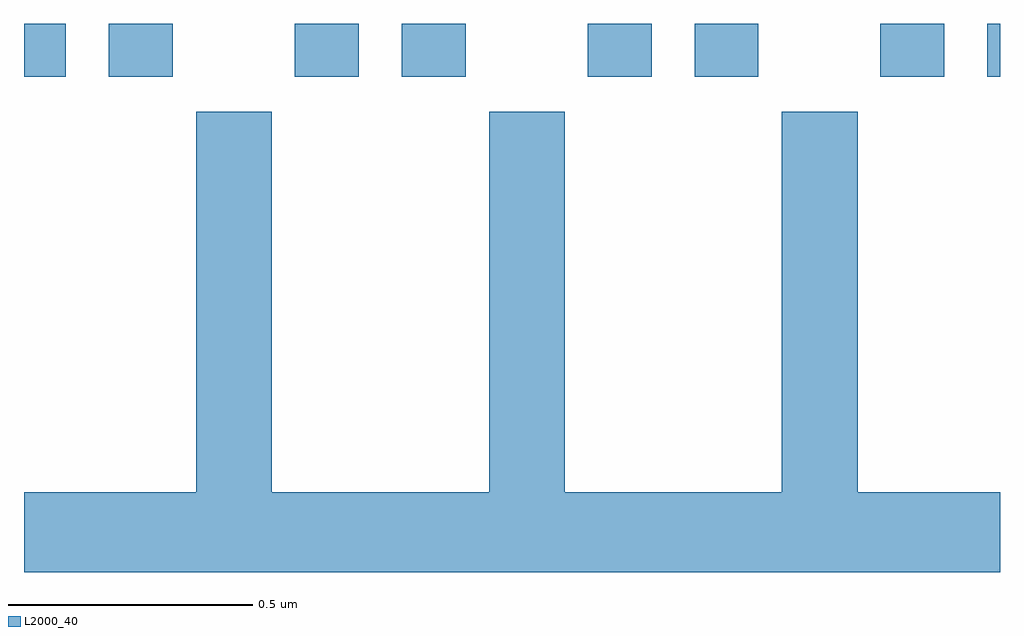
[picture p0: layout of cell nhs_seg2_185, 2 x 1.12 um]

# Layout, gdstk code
import gdstk
lib = gdstk.Library(unit=1e-6, precision=1e-09)
def R(c, l, rs):  # rectangles x0, y0, x1, y1
    for r in rs: c.add(gdstk.rectangle(r[:2], r[2:], *l))
def P(c, l, *ps):  # polygons
    for p in ps: c.add(gdstk.Polygon(p, *l))
L2000_40 = (2000, 40)

nhs_seg2_185 = lib.new_cell('nhs_seg2_185')
R(nhs_seg2_185, L2000_40, [(113,608.691,113.086,608.8), (113.174,608.691,113.305,608.8), (113.555,608.691,113.686,608.8), (113.774,608.691,113.905,608.8), (114.155,608.691,114.286,608.8), (114.374,608.691,114.505,608.8), (114.755,608.691,114.886,608.8), (114.974,608.691,115,608.8)])
P(nhs_seg2_185, L2000_40, [(115,607.84),(114.708,607.84),(114.708,608.62),(114.553,608.62),(114.553,607.84),(114.108,607.84),(114.108,608.62),(113.953,608.62),(113.953,607.84),(113.508,607.84),(113.508,608.62),(113.353,608.62),(113.353,607.84),(113,607.84),(113,607.676),(115,607.676)])

lib.write_gds('nhs_seg2_185.gds')
